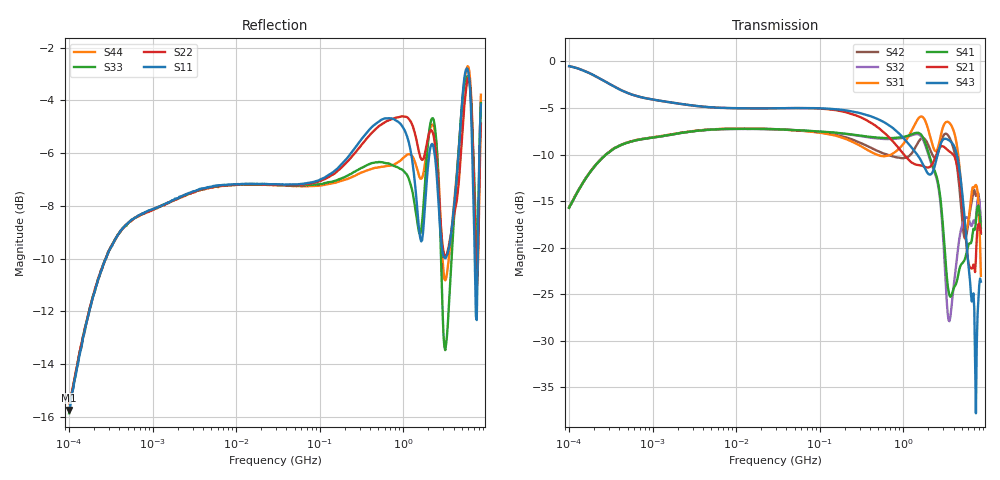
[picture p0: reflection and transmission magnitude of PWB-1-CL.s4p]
# MHz S MA R 50
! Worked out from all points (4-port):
!   498 points, 100 kHz to 8.5 GHz, reference 50 ohm
!   strongest paths, dB at 100 kHz, 1.698 MHz, 29.49 MHz, 500.7 MHz, 8.5 GHz:
!     S43: -0.5, -4.4, -5.0, -6.2, -23.6
!     S21: -0.5, -4.4, -5.0, -7.1, -18.3
!     S41: -15.7, -7.8, -7.3, -8.2, -17.8
!     S31: -15.7, -7.8, -7.3, -10.1, -23.0
!     S32: -15.7, -7.8, -7.3, -8.3, -17.1
!     S42: -15.7, -7.8, -7.3, -9.6, -18.5
!   lowest |S11| = -15.7 dB at 100 kHz (marker M1), VSWR 1.39, Z = 54.4 + j16.7 ohm
!   |S11| at or under -10 dB: start of sweep to 275.1 kHz; 7.18 GHz to 7.794 GHz (614.4 MHz wide, 8.21 % of centre)
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0.1  0.1632 66.1  0.9414 -9.2  0.1641 67.2  0.1635 -113.0
     0.9414 -9.2  0.1686 67.5  0.1646 -113.4  0.1649 66.5
     0.1641 67.2  0.1646 -113.4  0.161 66.1  0.9419 -9.2
     0.1635 -113.0  0.1649 66.5  0.9419 -9.2  0.168 67.1
347.4163  0.5424 -28.1  0.4883 -69.3  0.3409 -40.3  0.3964 102.7
          0.4883 -69.3  0.5295 -24.7  0.3937 103.5  0.3564 -42.5
          0.3409 -40.3  0.3937 103.5  0.4733 -31.5  0.5189 -61.1
          0.3964 102.7  0.3564 -42.5  0.5189 -61.1  0.4631 -29.8
1399.167  0.4302 -155.1  0.2795 94.7  0.4652 -121.4  0.4127 -84.8
          0.2795 94.7  0.5417 -141.1  0.4063 -82.7  0.3458 -124.2
          0.4652 -121.4  0.4063 -82.7  0.3913 -144.0  0.3252 111.5
          0.4127 -84.8  0.3458 -124.2  0.3252 111.5  0.4792 -136.2
2312.454  0.513 -171.5  0.2902 -95.8  0.3412 131.4  0.2672 131.1
          0.2902 -95.8  0.5405 -177.8  0.2606 133.7  0.3071 137.6
          0.3412 131.4  0.2606 133.7  0.5797 -173.4  0.2628 -78.0
          0.2672 131.1  0.3071 137.6  0.2628 -78.0  0.564 -171.9
4588.001  0.4986 -24.2  0.2513 -59.1  0.3049 -125.4  0.07289 -36.4
          0.2513 -59.1  0.436 -27.4  0.1039 -14.9  0.2346 -121.3
          0.3049 -125.4  0.1039 -14.9  0.5007 -11.6  0.2838 -67.8
          0.07289 -36.4  0.2346 -121.3  0.2838 -67.8  0.5051 -14.5
6764.496  0.4745 -163.8  0.07816 128.0  0.2109 52.4  0.1183 130.0
          0.07816 128.0  0.5301 -154.9  0.135 118.3  0.1877 57.5
          0.2109 52.4  0.135 118.3  0.5368 -164.0  0.05415 96.3
          0.1183 130.0  0.1877 57.5  0.05415 96.3  0.5487 -154.7
8500  0.6199 -55.4  0.121 -52.7  0.07061 176.7  0.1281 -79.6
      0.121 -52.7  0.5701 -41.0  0.1389 -92.2  0.1188 -166.4
      0.07061 176.7  0.1389 -92.2  0.6239 -51.8  0.06572 -38.5
      0.1281 -79.6  0.1188 -166.4  0.06572 -38.5  0.6469 -38.8
